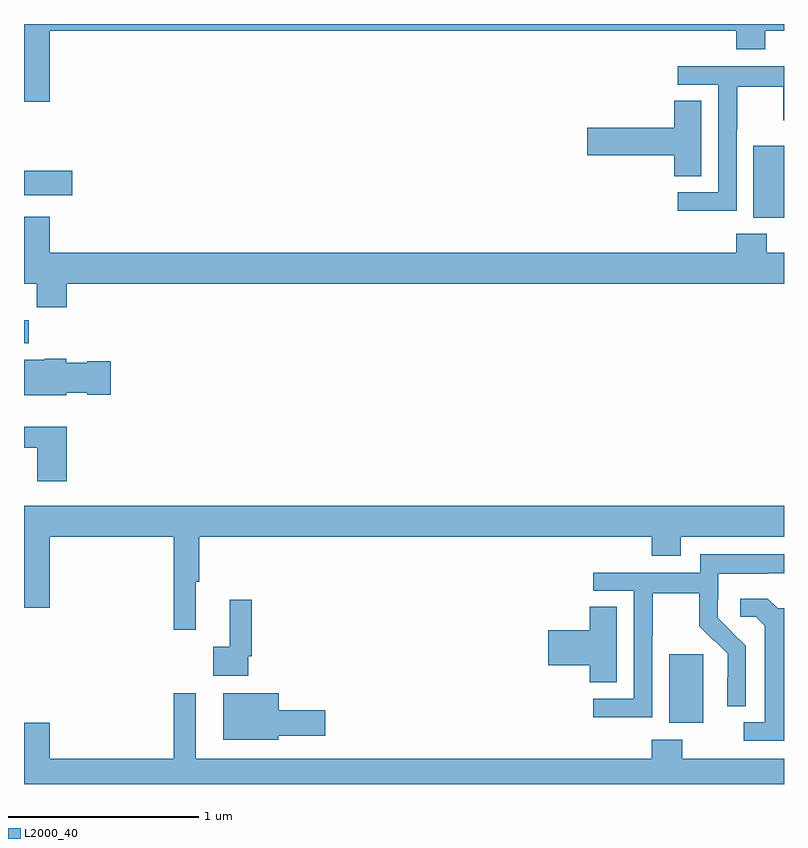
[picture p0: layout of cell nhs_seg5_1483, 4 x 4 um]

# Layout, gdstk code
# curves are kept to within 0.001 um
import gdstk
lib = gdstk.Library(unit=1e-6, precision=1e-09)
def R(c, l, rs):  # rectangles x0, y0, x1, y1
    for r in rs: c.add(gdstk.rectangle(r[:2], r[2:], *l))
def P(c, l, *ps):  # polygons
    for p in ps: c.add(gdstk.Polygon(p, *l))
L2000_40 = (2000, 40)

nhs_seg5_1483 = lib.new_cell('nhs_seg5_1483')
R(nhs_seg5_1483, L2000_40, [(204.395,849.122,204.574,849.483), (201,851.12,201.026,851.239), (204.839,851.78,205,852.157), (201,851.897,201.253,852.027)])
P(nhs_seg5_1483, L2000_40, [(201.136,852.764),(204.749,852.764),(204.749,852.665),(204.901,852.665),(204.901,852.764),(205,852.764),(205,852.799),(201,852.799),(201,852.39),(201.136,852.39)],
  [(204.75,852.244),(204.753,852.244),(204.753,852.468),(204.997,852.468),(204.997,852.293),(205,852.29),(205,852.576),(204.441,852.576),(204.441,852.48),(204.654,852.48),(204.654,851.913),(204.441,851.913),(204.441,851.815),(204.75,851.815)],
  [(204.565,852.395),(204.422,852.395),(204.422,852.254),(203.964,852.254),(203.964,852.107),(204.422,852.107),(204.422,851.998),(204.565,851.998)],
  [(201,851.432),(201.067,851.432),(201.067,851.308),(201.224,851.308),(201.224,851.432),(205,851.432),(205,851.596),(204.909,851.596),(204.909,851.695),(204.749,851.695),(204.749,851.596),(201.136,851.596),(201.136,851.785),(201,851.785)],
  [(201.222,850.859),(201.333,850.859),(201.333,850.847),(201.457,850.847),(201.457,851.025),(201.333,851.025),(201.333,851.017),(201.222,851.017),(201.222,851.038),(201.108,851.038),(201.108,851.032),(201,851.032),(201,850.844),(201.222,850.844)],
  [(201.224,850.678),(201,850.678),(201,850.569),(201.071,850.569),(201.071,850.392),(201.224,850.392)],
  [(201.905,849.864),(201.923,849.864),(201.923,850.1),(204.305,850.1),(204.305,850.001),(204.457,850.001),(204.457,850.1),(205,850.1),(205,850.264),(201,850.264),(201,849.726),(201.136,849.726),(201.136,850.1),(201.787,850.1),(201.787,849.612),(201.905,849.612)],
  [(204.306,849.58),(204.309,849.58),(204.309,849.804),(204.553,849.804),(204.553,849.629),(204.63,849.552),(204.633,849.555),(204.704,849.485),(204.704,849.362),(204.702,849.362),(204.702,849.208),(204.798,849.208),(204.798,849.526),(204.652,849.674),(204.652,849.771),(204.654,849.771),(204.654,849.905),(204.917,849.905),(204.917,849.909),(205,849.909),(205,850.009),(204.558,850.009),(204.558,849.912),(203.997,849.912),(203.997,849.816),(204.21,849.816),(204.21,849.249),(203.997,849.249),(203.997,849.151),(204.306,849.151)],
  [(205,849.723),(204.966,849.723),(204.914,849.775),(204.771,849.775),(204.771,849.678),(204.852,849.678),(204.899,849.631),(204.899,849.123),(204.789,849.123),(204.789,849.027),(205,849.027)],
  [(202.179,849.472),(202.199,849.472),(202.199,849.769),(202.082,849.769),(202.082,849.521),(201.996,849.521),(201.996,849.368),(202.179,849.368)],
  [(204.121,849.731),(203.978,849.731),(203.978,849.608),(203.76,849.608),(203.76,849.425),(203.978,849.425),(203.978,849.334),(204.121,849.334)],
  [(202.338,849.053),(202.585,849.053),(202.585,849.188),(202.342,849.188),(202.342,849.277),(202.049,849.277),(202.049,849.032),(202.338,849.032)],
  [(205,848.932),(204.465,848.932),(204.465,849.031),(204.305,849.031),(204.305,848.932),(201.904,848.932),(201.904,849.277),(201.787,849.277),(201.787,848.932),(201.136,848.932),(201.136,849.121),(201,849.121),(201,848.799),(205,848.799)])

lib.write_gds('nhs_seg5_1483.gds')
